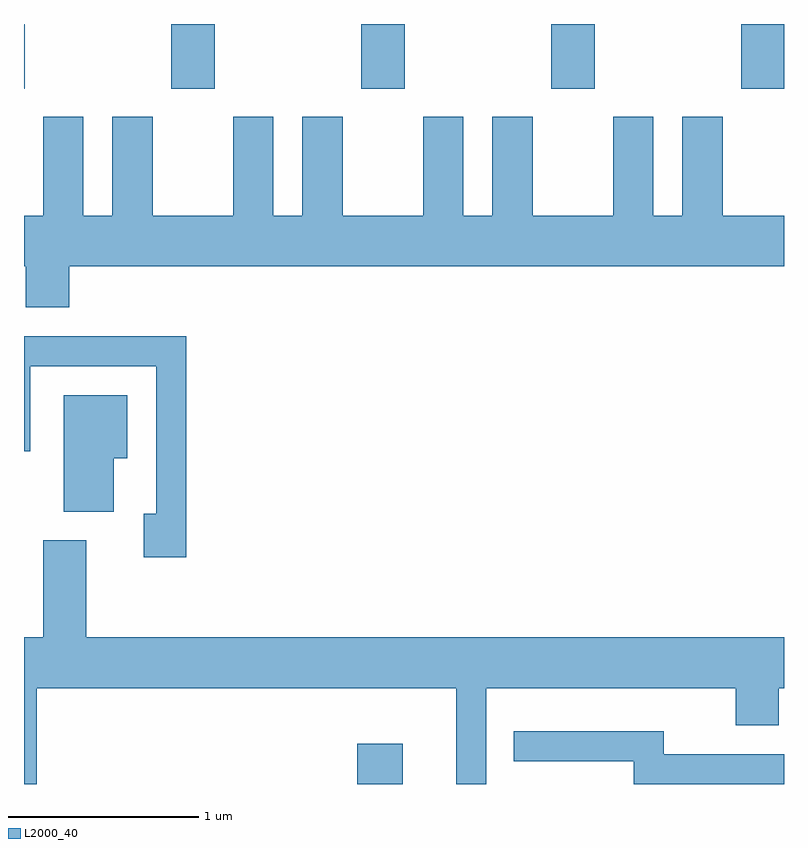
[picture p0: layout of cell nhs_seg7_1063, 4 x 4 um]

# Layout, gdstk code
import gdstk
lib = gdstk.Library(unit=1e-6, precision=1e-09)
def R(c, l, rs):  # rectangles x0, y0, x1, y1
    for r in rs: c.add(gdstk.rectangle(r[:2], r[2:], *l))
def A(c, l, x, y, w, h, nx, ny, dx, dy):  # array of equal rectangles
    R(c, l, [(x+i*dx, y+j*dy, x+i*dx+w, y+j*dy+h) for i in range(nx) for j in range(ny)])
def P(c, l, *ps):  # polygons
    for p in ps: c.add(gdstk.Polygon(p, *l))
L2000_40 = (2000, 40)

nhs_seg7_1063 = lib.new_cell('nhs_seg7_1063')
A(nhs_seg7_1063, L2000_40, 218.386, 1721.911, 0.228, 0.341, 3, 1, 1, 0)
R(nhs_seg7_1063, L2000_40, [(219.366,1718.252,219.604,1718.464), (217.611,1721.911,217.614,1722.252), (221.386,1721.911,221.611,1722.252)])
P(nhs_seg7_1063, L2000_40, [(217.849,1720.976),(221.611,1720.976),(221.611,1721.244),(221.289,1721.244),(221.289,1721.764),(221.076,1721.764),(221.076,1721.244),(220.924,1721.244),(220.924,1721.764),(220.711,1721.764),(220.711,1721.244),(220.289,1721.244),(220.289,1721.764),(220.076,1721.764),(220.076,1721.244),(219.924,1721.244),(219.924,1721.764),(219.711,1721.764),(219.711,1721.244),(219.289,1721.244),(219.289,1721.764),(219.076,1721.764),(219.076,1721.244),(218.924,1721.244),(218.924,1721.764),(218.711,1721.764),(218.711,1721.244),(218.289,1721.244),(218.289,1721.764),(218.076,1721.764),(218.076,1721.244),(217.924,1721.244),(217.924,1721.764),(217.711,1721.764),(217.711,1721.244),(217.611,1721.244),(217.611,1720.976),(217.621,1720.976),(217.621,1720.761),(217.849,1720.761)],
  [(218.464,1720.609),(217.611,1720.609),(217.611,1720.003),(217.644,1720.003),(217.644,1720.451),(218.306,1720.451),(218.306,1719.674),(218.241,1719.674),(218.241,1719.446),(218.464,1719.446)],
  [(218.084,1719.966),(218.154,1719.966),(218.154,1720.299),(217.821,1720.299),(217.821,1719.686),(218.084,1719.686)],
  [(217.679,1718.756),(219.886,1718.756),(219.886,1718.252),(220.044,1718.252),(220.044,1718.756),(221.356,1718.756),(221.356,1718.561),(221.584,1718.561),(221.584,1718.756),(221.611,1718.756),(221.611,1719.024),(217.939,1719.024),(217.939,1719.534),(217.711,1719.534),(217.711,1719.024),(217.611,1719.024),(217.611,1718.252),(217.679,1718.252)],
  [(221.611,1718.409),(220.979,1718.409),(220.979,1718.529),(220.188,1718.529),(220.188,1718.371),(220.821,1718.371),(220.821,1718.252),(221.611,1718.252)])

lib.write_gds('nhs_seg7_1063.gds')
